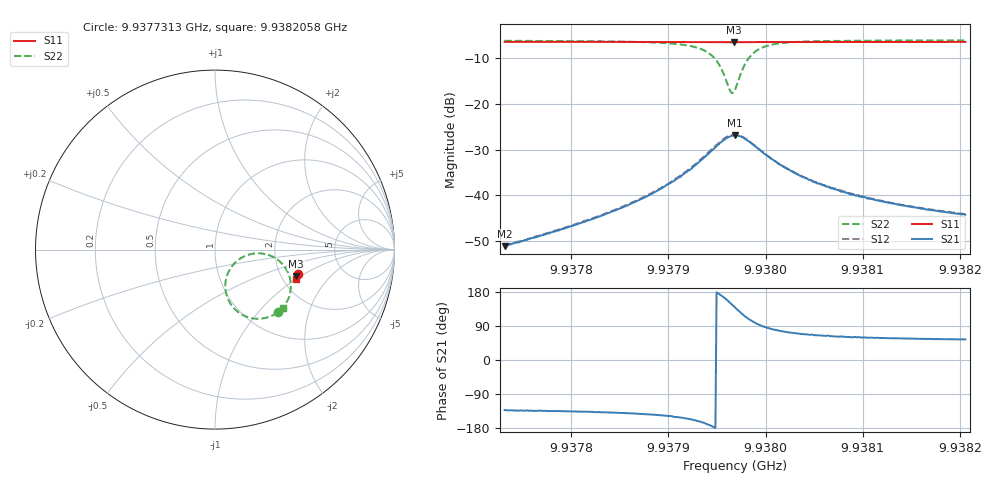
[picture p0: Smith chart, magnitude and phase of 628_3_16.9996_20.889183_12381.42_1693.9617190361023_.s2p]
#  HZ  S  RI  R  50.00
! Rohde & Schwarz Vector Network Analyzer
! Rohde-Schwarz,ZNB20-2Port,1311601062101988,3.16
! Created: UTC 3/20/2024, 11:20:14 PM
! freq[Hz]  re:S11  im:S11  re:S21  im:S21  re:S12  im:S12  re:S22  im:S22
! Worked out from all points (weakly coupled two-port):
!   401 points, 9.9377313 GHz to 9.9382058 GHz, reference 50 ohm
!   highest |S21| = -26.90 dB at 9.9379686 GHz (marker M1); lowest = -51.2 dB at 9.9377313 GHz (marker M2)
!   lowest |S11| = -6.5 dB at 9.9379674 GHz (marker M3), VSWR 2.81, Z = 120 - j46.1 ohm
!   |S11| at or under -10 dB: nowhere
!   |S22| runs from -17.6 to -6.1 dB; largest |S21 - S12| = 0.0023
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9.93773134e9  0.4619 -0.1365  -0.00184 -0.00205  -0.00195 -0.00202  0.3484 -0.3499
9.93781081e9  0.4598 -0.1421  -0.00366 -0.00343  -0.0037 -0.00344  0.3288 -0.3625
9.93785825e9  0.4584 -0.1454  -0.00598 -0.00493  -0.00618 -0.00496  0.3052 -0.3734
9.93789027e9  0.4572 -0.1477  -0.00941 -0.00648  -0.0097 -0.00646  0.2737 -0.3824
9.93792229e9  0.4556 -0.1501  -0.0173 -0.00768  -0.0181 -0.00758  0.2049 -0.3822
9.93794008e9  0.4538 -0.1511  -0.0274 -0.00501  -0.0284 -0.00473  0.128 -0.3471
9.93794957e9  0.4525 -0.1513  -0.0345 0.000918  -0.0356 0.00169  0.0783 -0.2877
9.93795669e9  0.4516 -0.1508  -0.0388 0.00958  -0.0397 0.0112  0.0576 -0.2088
9.93796381e9  0.4512 -0.1498  -0.0385 0.0218  -0.0386 0.0239  0.0823 -0.1111
9.93796618e9  0.4514 -0.1494  -0.0366 0.026  -0.0366 0.0281  0.104 -0.0811
9.93796736e9  0.4513 -0.1492  -0.0354 0.028  -0.035 0.0299  0.1172 -0.0679
9.93796855e9  0.4515 -0.149  -0.0341 0.0296  -0.0336 0.0318  0.1315 -0.056
9.93797448e9  0.4522 -0.1485  -0.025 0.0362  -0.0239 0.0376  0.2141 -0.0224
9.93798041e9  0.4533 -0.1484  -0.0154 0.0374  -0.0141 0.0385  0.2917 -0.0279
9.93798634e9  0.4541 -0.1488  -0.00764 0.0357  -0.00653 0.0361  0.3483 -0.0561
9.93799227e9  0.4546 -0.1496  -0.00236 0.0323  -0.00143 0.0327  0.3837 -0.0905
9.93801125e9  0.4552 -0.1517  0.00446 0.0226  0.00504 0.0226  0.421 -0.1792
9.93803022e9  0.455 -0.1536  0.00564 0.0165  0.00619 0.0165  0.421 -0.2289
9.93804802e9  0.4545 -0.1551  0.00555 0.0131  0.00612 0.013  0.4149 -0.2562
9.93808834e9  0.4535 -0.1583  0.0051 0.00874  0.00522 0.00899  0.4013 -0.2895
9.93812748e9  0.4524 -0.161  0.00443 0.00692  0.00457 0.00695  0.3914 -0.3063
9.93820576e9  0.4503 -0.1661  0.00355 0.00497  0.00373 0.00498  0.3781 -0.3242
